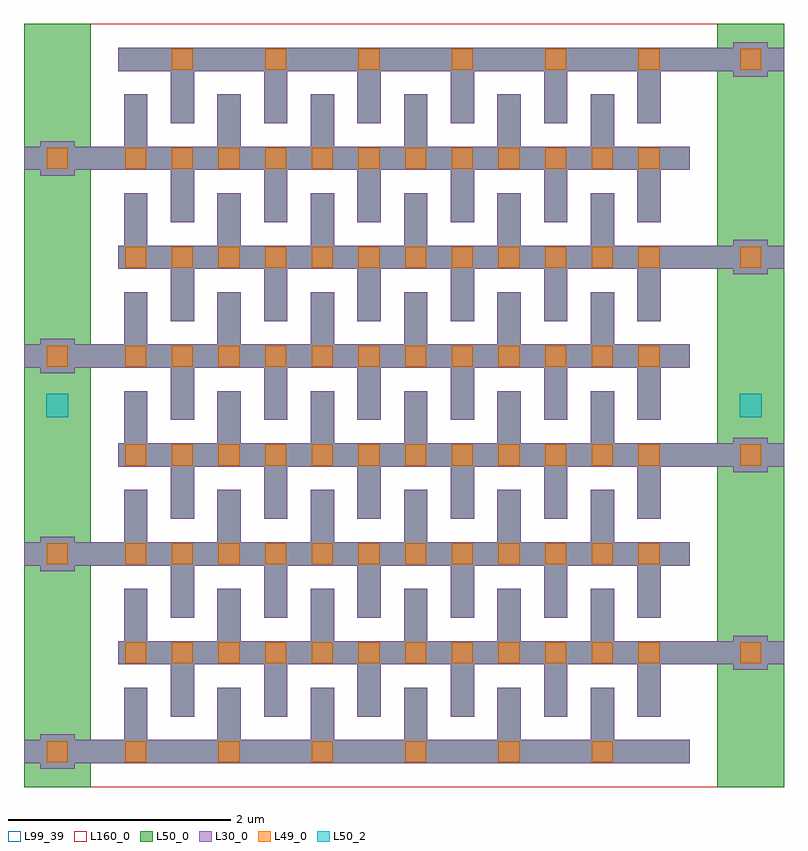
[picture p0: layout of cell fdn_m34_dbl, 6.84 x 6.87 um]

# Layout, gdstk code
import gdstk
lib = gdstk.Library(unit=1e-6, precision=1e-09)
def R(c, l, rs):  # rectangles x0, y0, x1, y1
    for r in rs: c.add(gdstk.rectangle(r[:2], r[2:], *l))
def A(c, l, x, y, w, h, nx, ny, dx, dy):  # array of equal rectangles
    R(c, l, [(x+i*dx, y+j*dy, x+i*dx+w, y+j*dy+h) for i in range(nx) for j in range(ny)])
L30_0 = (30, 0)
L49_0 = (49, 0)
L50_0 = (50, 0)
L50_2 = (50, 2)
L99_39 = (99, 39)
L160_0 = (160, 0)

fdn_m34_dbl = lib.new_cell('fdn_m34_dbl')
A(fdn_m34_dbl, L30_0, -0.755, -0.155, 0.31, 0.31, 1, 4, 0, 1.78)
A(fdn_m34_dbl, L30_0, -0.9, -0.105, 5.99, 0.21, 1, 4, 0, 1.78)
A(fdn_m34_dbl, L30_0, 0, 0, 0.21, 0.575, 6, 7, 0.84, 0.89)
A(fdn_m34_dbl, L30_0, 0.42, 0.315, 0.21, 0.575, 6, 7, 0.84, 0.89)
A(fdn_m34_dbl, L30_0, 5.485, 0.735, 0.31, 0.31, 1, 4, 0, 1.78)
A(fdn_m34_dbl, L30_0, -0.05, 0.785, 5.99, 0.21, 1, 4, 0, 1.78)
A(fdn_m34_dbl, L49_0, -0.695, -0.095, 0.19, 0.19, 1, 4, 0, 1.78)
A(fdn_m34_dbl, L49_0, 0.01, -0.095, 0.19, 0.19, 6, 1, 0.84, 0)
A(fdn_m34_dbl, L49_0, 0.01, 0.795, 0.19, 0.19, 12, 6, 0.42, 0.89)
A(fdn_m34_dbl, L49_0, 5.545, 0.795, 0.19, 0.19, 1, 4, 0, 1.78)
A(fdn_m34_dbl, L49_0, 0.43, 6.135, 0.19, 0.19, 6, 1, 0.84, 0)
A(fdn_m34_dbl, L50_0, -0.9, -0.105, 5.99, 0.21, 1, 4, 0, 1.78)
A(fdn_m34_dbl, L50_0, 0, 0, 0.21, 0.575, 6, 7, 0.84, 0.89)
A(fdn_m34_dbl, L50_0, 0.42, 0.315, 0.21, 0.575, 6, 7, 0.84, 0.89)
A(fdn_m34_dbl, L50_0, -0.05, 0.785, 5.99, 0.21, 1, 4, 0, 1.78)
R(fdn_m34_dbl, L50_0, [(-0.9,-0.32,-0.3,6.55), (5.34,-0.32,5.94,6.55)])
R(fdn_m34_dbl, L50_2, [(-0.7,3.01,-0.5,3.22), (5.54,3.01,5.74,3.22)])
R(fdn_m34_dbl, L99_39, [(-0.9,-0.32,5.94,6.55)])
R(fdn_m34_dbl, L160_0, [(-0.9,-0.32,5.94,6.55)])
fdn_m34_dbl.add(gdstk.Label('cap_cmomi C=17.270fF', (-0.9,-0.82), layer=63, texttype=0))

lib.write_gds('fdn_m34_dbl.gds')
